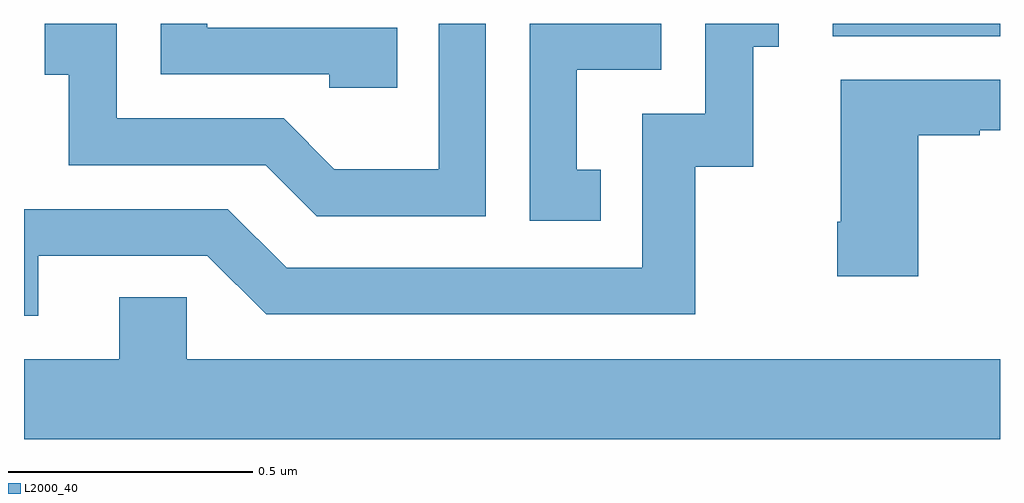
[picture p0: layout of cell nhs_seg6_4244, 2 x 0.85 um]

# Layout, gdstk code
import gdstk
lib = gdstk.Library(unit=1e-6, precision=1e-09)
def R(c, l, rs):  # rectangles x0, y0, x1, y1
    for r in rs: c.add(gdstk.rectangle(r[:2], r[2:], *l))
def P(c, l, *ps):  # polygons
    for p in ps: c.add(gdstk.Polygon(p, *l))
L2000_40 = (2000, 40)

nhs_seg6_4244 = lib.new_cell('nhs_seg6_4244')
R(nhs_seg6_4244, L2000_40, [(168.657,969.474,169,969.5)])
P(nhs_seg6_4244, L2000_40, [(167.765,969.492),(167.376,969.492),(167.376,969.5),(167.28,969.5),(167.28,969.396),(167.625,969.396),(167.625,969.369),(167.765,969.369)],
  [(167.029,969.024),(167.376,969.024),(167.496,968.904),(168.376,968.904),(168.376,969.207),(168.494,969.207),(168.494,969.453),(168.547,969.453),(168.547,969.5),(168.396,969.5),(168.396,969.315),(168.267,969.315),(168.267,969),(167.538,969),(167.418,969.12),(167,969.12),(167,968.901),(167.029,968.901)],
  [(167.946,969.5),(167.85,969.5),(167.85,969.202),(167.636,969.202),(167.532,969.306),(167.19,969.306),(167.19,969.5),(167.043,969.5),(167.043,969.395),(167.092,969.395),(167.092,969.21),(167.495,969.21),(167.6,969.105),(167.946,969.105)],
  [(168.182,969.201),(168.133,969.201),(168.133,969.405),(168.306,969.405),(168.306,969.5),(168.036,969.5),(168.036,969.096),(168.182,969.096)],
  [(168.832,969.271),(168.959,969.271),(168.959,969.281),(169,969.281),(169,969.385),(168.674,969.385),(168.674,969.094),(168.667,969.094),(168.667,968.982),(168.832,968.982)],
  [(169,968.812),(167.334,968.812),(167.334,968.939),(167.195,968.939),(167.195,968.812),(167,968.812),(167,968.648),(169,968.648)])

lib.write_gds('nhs_seg6_4244.gds')
